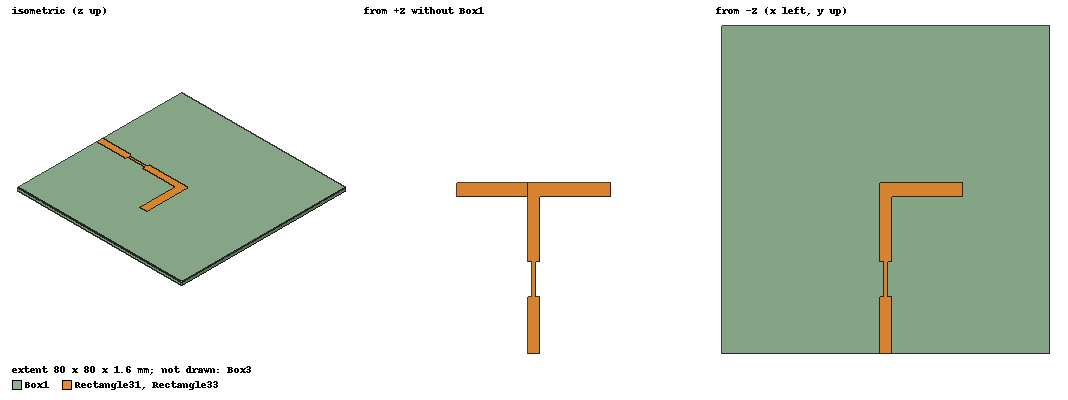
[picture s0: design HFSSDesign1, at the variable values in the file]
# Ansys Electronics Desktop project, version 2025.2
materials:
  vacuum: permittivity=1
  FR4_epoxy: permittivity=4.4 dielectric_loss_tangent=0.02
  air: permittivity=1.0006 permeability=1.0000004

design HFSSDesign1 (HFSS, HFSS Terminal Network, model units mm)
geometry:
  Box1 [FR4_epoxy] = box(corner=(0mm, 0mm, 0mm), size=(80mm, 80mm, 1.6mm))
  Rectangle23 = rectangle(corner=(38.5mm, 0mm, 1.6mm), x_size=3mm, y_size=14mm)
  Rectangle24 = rectangle(corner=(39.5mm, 14mm, 1.6mm), x_size=1mm, y_size=8.5mm)
  Rectangle25 = rectangle(corner=(38.5mm, 22.5mm, 1.6mm), x_size=3mm, y_size=15.75mm)
  Rectangle26 = rectangle(corner=(38.5mm, 38.25mm, 1.6mm), x_size=20.25mm, y_size=3.5mm)
  Rectangle27 = rectangle(corner=(57.5mm, 41.75mm, 1.6mm), x_size=-2mm, y_size=-3.5mm)
  Rectangle26.subtract(Rectangle27)
  Rectangle28 = rectangle(corner=(38.5mm, 0mm, 0mm), x_size=3mm, y_size=14mm)
  Rectangle29 = rectangle(corner=(39.5mm, 14mm, 0mm), x_size=1mm, y_size=8.5mm)
  Rectangle30 = rectangle(corner=(38.5mm, 22.5mm, 0mm), x_size=3mm, y_size=15.75mm)
  Rectangle31 = rectangle(corner=(21.25mm, 38.25mm, 0mm), x_size=20.25mm, y_size=3.5mm)
  Rectangle32 = rectangle(corner=(22.5mm, 38.25mm, 0mm), x_size=2mm, y_size=3.5mm)
  Rectangle31.subtract(Rectangle32)
  PORT1 = rectangle(corner=(38.5mm, 0mm, 1.6mm), z_size=-1.6mm, x_size=3mm)
  Box3 [air] = box(corner=(-37.5mm, -37.5mm, -37.5mm), size=(150mm, 150mm, 100mm))
  [Rectangle23..Rectangle26, Rectangle28..Rectangle31, PORT1, Box3, Box1].move(-40mm, -40mm, 0mm)
  [Rectangle23..Rectangle26, Rectangle28..Rectangle31, PORT1, Box3, Box1].move(0mm, 0mm, -6.6mm)
  [Rectangle23..Rectangle26, Rectangle28..Rectangle31, PORT1, Box3, Box1].move(-40mm, 0mm, 3.4mm)
  [Rectangle23..Rectangle26, Rectangle28..Rectangle31, PORT1, Box3, Box1].move(90mm, 0mm, -5mm)
  [Rectangle23..Rectangle26, Rectangle28..Rectangle31, PORT1, Box3, Box1].move(1mm, -0.375mm, 2.2mm)
  [Rectangle23..Rectangle26, Rectangle28..Rectangle31, PORT1, Box3, Box1].move(-49.5mm, 0.375mm, 4.4mm)
  [Rectangle23..Rectangle26, Rectangle28..Rectangle31, PORT1, Box3, Box1].move(-1.5mm, 0mm, -10mm)
  [Rectangle23..Rectangle26, Rectangle28..Rectangle31, PORT1, Box3, Box1].move(0mm, 0mm, 5mm)
  [Box3, Box1, Rectangle23..Rectangle26, Rectangle28..Rectangle31, PORT1].rotate(axis=X, angle=90deg)
  [Box3, Box1, Rectangle23..Rectangle26, Rectangle28..Rectangle31, PORT1].rotate(axis=X, angle=180deg)
  [Box3, Box1, Rectangle23..Rectangle26, Rectangle28..Rectangle31, PORT1].rotate(axis=X, angle=-270deg)
  Rectangle33 = rectangle(corner=(15.5mm, -1.75mm, -5mm), x_size=3mm, y_size=3.5mm)
  Rectangle33.unite(Rectangle26)
  Rectangle34 = rectangle(corner=(-17.5mm, 1.75mm, -6.6mm), x_size=2mm, y_size=-3.5mm)
  Rectangle31.unite(Rectangle34)
  Rectangle33.unite(Rectangle25, Rectangle24, Rectangle23)
  Rectangle31.unite(Rectangle30, Rectangle29, Rectangle28)
  group Antenna = Box1
  group RIS = Box3
  group DIPOLE = Rectangle31, PORT1
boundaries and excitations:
  Rad1: Radiation Objects=Box3
  PerfE1: Perfect E Objects=Rectangle31
  PerfE2: Perfect E Objects=Rectangle33
  1: Lumped Port Objects=PORT1 LumpedPortType=Modal Modes{Mode1{IntLine{(0, -40, -6.6) -> (0, -40, -5)} CharImp=Zpi RenormImp=50ohm}} Impedance=50ohm
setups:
  Setup1: HfssDriven Frequency=2.4GHz MaxDeltaS=0.02 MaximumPasses=40 MinimumPasses=1 MinimumConvergedPasses=1 PercentRefinement=30 BasisOrder=1 PortAccuracy=2 DrivenSolverType="Direct Solver"
    sweep Sweep: 1.2GHz to 5GHz, 101 points; Type=Fast SaveFields
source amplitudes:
  1:1: 1V 0deg
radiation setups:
  Infinite Sphere1: Infinite Sphere Theta=0deg..360deg step 2deg Phi=-180deg..180deg step 2deg
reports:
  S Parameter Plot1: dB(S(1,1)) vs Freq on Setup1 : Sweep
